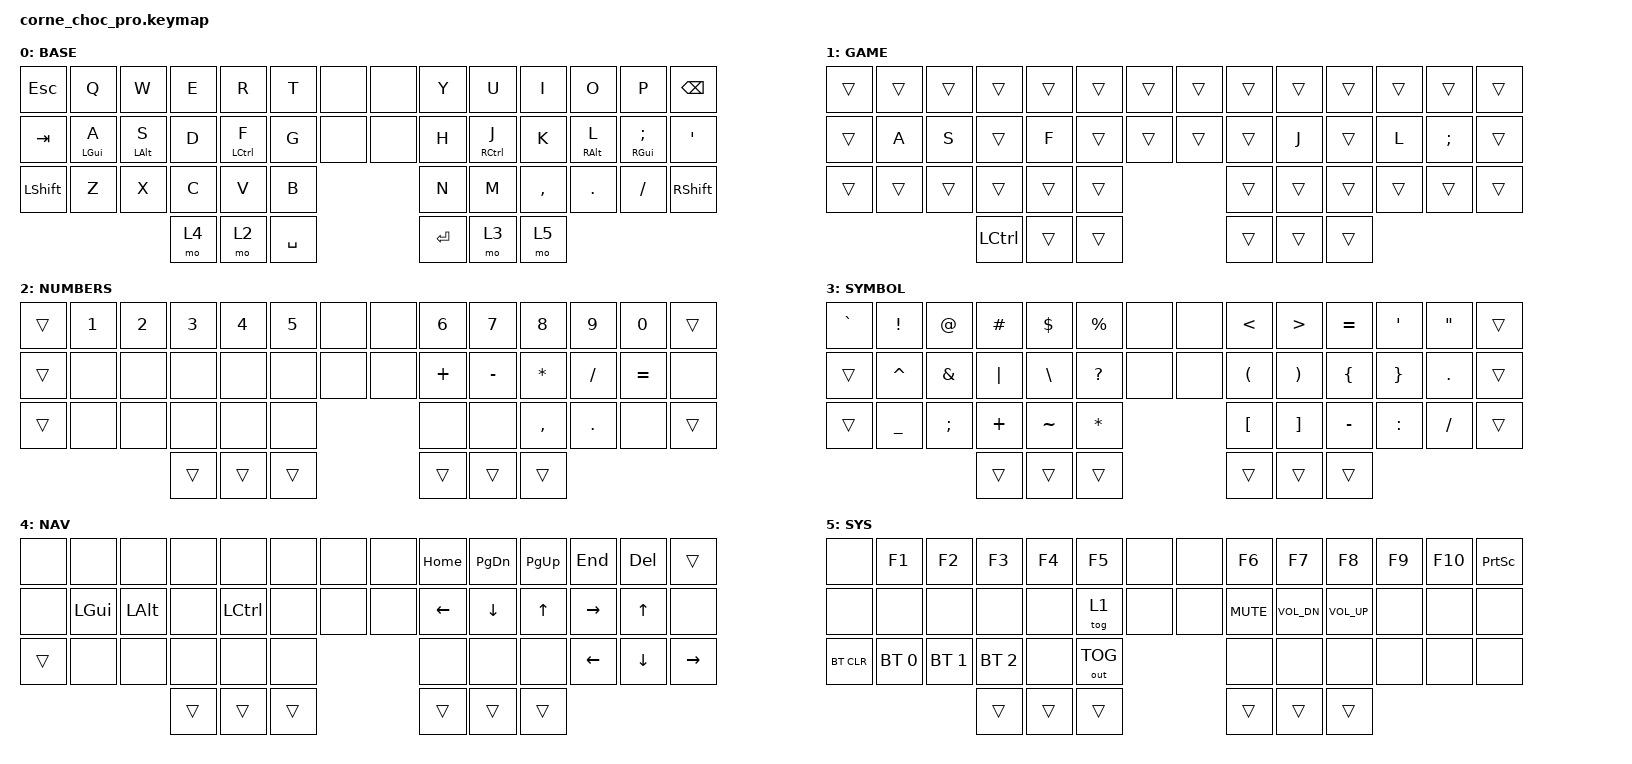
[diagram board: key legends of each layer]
/*
 * Keebart Corne Choc Pro BT — 46-Key Variant
 *
 * Same layout philosophy as the Standard Corne (42-key) keymap:
 *   0=BASE 1=GAME 2=NUM 3=SYM 4=NAV 5=SYS
 *   Thumbs: NAV | NUM | SPC | RET | SYM | SYS
 *
 * Differences vs corne.keymap:
 *   - 46 positions per layer (4 encoder click slots in middle)
 *   - Encoder positions (6, 7, 20, 21) bound to &none — no encoders fitted
 *   - All hand positions shifted right by +2 (top/home) or +4 (home-r/bot/thumbs)
 *
 * SPDX-License-Identifier: GPL-2.0-or-later
 */

#include <behaviors.dtsi>
#include <dt-bindings/zmk/bt.h>
#include <dt-bindings/zmk/keys.h>
#include <dt-bindings/zmk/outputs.h>

// 46-Key Keebart layout — encoder click positions (6, 7, 20, 21) excluded from hold-trigger
#define HM_L_POSITIONS  8  9 10 11 12 13 22 23 24 25 26 27 34 35 36 37 38 39
#define HM_R_POSITIONS  0  1  2  3  4  5 14 15 16 17 18 19 28 29 30 31 32 33

#include "corne_common.dtsi"

/ {
    keymap {
        compatible = "zmk,keymap";

        // Layer 0: BASE (QWERTY mit Home Row Mods)
        base_layer {
            label = "BASE";
            bindings = <
&kp ESC    &kp Q          &kp W         &kp E          &kp R         &kp T      &none  &none  &kp Y      &kp U          &kp I          &kp O         &kp P             &kp BSPC
&kp TAB    &hm_l LGUI A   &hm_l LALT S  &kp D          &hm_l LCTRL F &kp G      &none  &none  &kp H      &hm_r RCTRL J  &kp K          &hm_r RALT L  &hm_r RGUI SEMI   &kp SQT
&kp LSHFT  &kp Z          &kp X         &kp C          &kp V         &kp B                    &kp N      &kp M          &kp COMMA      &kp DOT       &kp FSLH          &kp RSHFT
                                        &mo 4          &mo 2         &kp SPACE                &kp RET    &mo 3          &mo 5
            >;
        };

        // Layer 1: GAME (CS) — Toggle: SYS + G
        // Home Row Mods aus, LCTRL (Ducken) auf dem äußeren linken Daumen statt NAV
        game_layer {
            label = "GAME";
            bindings = <
&trans  &trans  &trans  &trans  &trans  &trans     &trans  &trans  &trans  &trans  &trans  &trans  &trans    &trans
&trans  &kp A   &kp S   &trans  &kp F   &trans     &trans  &trans  &trans  &kp J   &trans  &kp L   &kp SEMI  &trans
&trans  &trans  &trans  &trans  &trans  &trans                     &trans  &trans  &trans  &trans  &trans    &trans
                        &kp LCTRL  &trans  &trans                  &trans  &trans  &trans
            >;
        };

        // Layer 2: NUMBERS
        number_layer {
            label = "NUMBERS";
            bindings = <
&trans  &kp N1  &kp N2  &kp N3  &kp N4  &kp N5     &none  &none   &kp N6    &kp N7     &kp N8     &kp N9   &kp N0    &trans
&trans  &none   &none   &none   &none   &none      &none  &none   &kp PLUS  &kp MINUS  &kp STAR   &kp FSLH &kp EQUAL &none
&trans  &none   &none   &none   &none   &none                     &none     &none      &kp COMMA  &kp DOT  &none     &trans
                        &trans  &trans  &trans                    &trans    &trans     &trans
            >;
        };

        // Layer 3: SYMBOL
        symbol_layer {
            label = "SYMBOL";
            bindings = <
&kp GRAVE &kp EXCL  &kp AT   &kp HASH  &kp DLLR  &kp PRCNT  &none  &none  &kp LT    &kp GT    &kp EQUAL  &kp SQT    &kp DQT    &trans
&trans    &kp CARET &kp AMPS &kp PIPE  &kp BSLH  &kp QMARK  &none  &none  &kp LPAR  &kp RPAR  &kp LBRC   &kp RBRC   &kp DOT    &trans
&trans    &kp UNDER &kp SEMI &kp PLUS  &kp TILDE &kp STAR                 &kp LBKT  &kp RBKT  &kp MINUS  &kp COLON  &kp FSLH   &trans
                             &trans    &trans    &trans                   &trans    &trans    &trans
            >;
        };

        // Layer 4: NAVIGATION
        nav_layer {
            label = "NAV";
            bindings = <
&none   &none      &none      &none       &none      &none    &none  &none  &kp HOME  &kp PG_DN  &kp PG_UP  &kp END    &kp DEL       &trans
&none   &kp LGUI   &kp LALT   &none       &kp LCTRL  &none    &none  &none  &kp LEFT  &kp DOWN   &kp UP     &kp RIGHT  &kp UP_ARROW  &none
&trans  &none      &none      &none       &none      &none                  &none     &none      &none      &kp LEFT   &kp DOWN      &kp RIGHT
                              &trans      &trans     &trans                 &trans    &trans     &trans
            >;
        };

        // Layer 5: SYSTEM
        system_layer {
            label = "SYS";
            bindings = <
&none       &kp F1        &kp F2        &kp F3  &kp F4  &kp F5    &none  &none  &kp F6      &kp F7        &kp F8        &kp F9  &kp F10  &kp PSCRN
&none       &none         &none         &none   &none   &tog 1    &none  &none  &kp C_MUTE  &kp C_VOL_DN  &kp C_VOL_UP  &none   &none    &none
&bt BT_CLR  &bt BT_SEL 0  &bt BT_SEL 1  &bt BT_SEL 2  &none   &out OUT_TOG                   &none       &none         &none         &none   &none    &none
                                        &trans  &trans  &trans                  &trans      &trans        &trans
            >;
        };
    };
};
